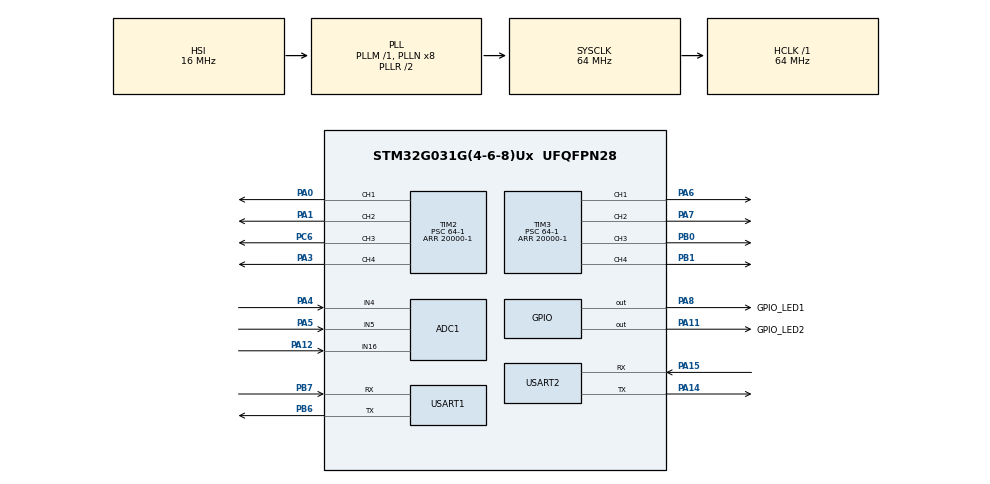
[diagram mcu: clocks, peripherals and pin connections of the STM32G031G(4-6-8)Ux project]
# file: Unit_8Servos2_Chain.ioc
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ADC1.ContinuousConvMode=DISABLE
ADC1.NbrOfConversion=1
ADC1.NbrOfConversionFlag=0
ADC1.SamplingTimeCommon1=ADC_SAMPLETIME_160CYCLES_5
ADC1.SelectedChannel=ADC_CHANNEL_4|ADC_CHANNEL_5|ADC_CHANNEL_VREFINT|ADC_CHANNEL_16
ADC1.Sequencer=NOT_FULLY_CONFIGURABLE
ADC1.master=1
Dma.Request0=USART1_RX
Dma.Request1=USART1_TX
Dma.Request2=USART2_RX
Dma.Request3=USART2_TX
Dma.USART1_RX.0.Direction=DMA_PERIPH_TO_MEMORY
Dma.USART1_RX.0.EventEnable=DISABLE
Dma.USART1_RX.0.Instance=DMA1_Channel1
Dma.USART1_RX.0.MemDataAlignment=DMA_MDATAALIGN_BYTE
Dma.USART1_RX.0.MemInc=DMA_MINC_ENABLE
Dma.USART1_RX.0.Mode=DMA_NORMAL
Dma.USART1_RX.0.PeriphDataAlignment=DMA_PDATAALIGN_BYTE
Dma.USART1_RX.0.PeriphInc=DMA_PINC_DISABLE
Dma.USART1_RX.0.Polarity=HAL_DMAMUX_REQ_GEN_RISING
Dma.USART1_RX.0.Priority=DMA_PRIORITY_LOW
Dma.USART1_RX.0.RequestNumber=1
Dma.USART1_RX.0.SignalID=NONE
Dma.USART1_RX.0.SyncEnable=DISABLE
Dma.USART1_RX.0.SyncPolarity=HAL_DMAMUX_SYNC_NO_EVENT
Dma.USART1_RX.0.SyncRequestNumber=1
Dma.USART1_RX.0.SyncSignalID=NONE
Dma.USART1_TX.1.Direction=DMA_MEMORY_TO_PERIPH
Dma.USART1_TX.1.EventEnable=DISABLE
Dma.USART1_TX.1.Instance=DMA1_Channel2
Dma.USART1_TX.1.MemDataAlignment=DMA_MDATAALIGN_BYTE
Dma.USART1_TX.1.MemInc=DMA_MINC_ENABLE
Dma.USART1_TX.1.Mode=DMA_NORMAL
Dma.USART1_TX.1.PeriphDataAlignment=DMA_PDATAALIGN_BYTE
Dma.USART1_TX.1.PeriphInc=DMA_PINC_DISABLE
Dma.USART1_TX.1.Polarity=HAL_DMAMUX_REQ_GEN_RISING
Dma.USART1_TX.1.Priority=DMA_PRIORITY_LOW
Dma.USART1_TX.1.RequestNumber=1
Dma.USART1_TX.1.SignalID=NONE
Dma.USART1_TX.1.SyncEnable=DISABLE
Dma.USART1_TX.1.SyncPolarity=HAL_DMAMUX_SYNC_NO_EVENT
Dma.USART1_TX.1.SyncRequestNumber=1
Dma.USART1_TX.1.SyncSignalID=NONE
Dma.USART2_RX.2.Direction=DMA_PERIPH_TO_MEMORY
Dma.USART2_RX.2.EventEnable=DISABLE
Dma.USART2_RX.2.Instance=DMA1_Channel3
Dma.USART2_RX.2.MemDataAlignment=DMA_MDATAALIGN_BYTE
Dma.USART2_RX.2.MemInc=DMA_MINC_ENABLE
Dma.USART2_RX.2.Mode=DMA_NORMAL
Dma.USART2_RX.2.PeriphDataAlignment=DMA_PDATAALIGN_BYTE
Dma.USART2_RX.2.PeriphInc=DMA_PINC_DISABLE
Dma.USART2_RX.2.Polarity=HAL_DMAMUX_REQ_GEN_RISING
Dma.USART2_RX.2.Priority=DMA_PRIORITY_LOW
Dma.USART2_RX.2.RequestNumber=1
Dma.USART2_RX.2.SignalID=NONE
Dma.USART2_RX.2.SyncEnable=DISABLE
Dma.USART2_RX.2.SyncPolarity=HAL_DMAMUX_SYNC_NO_EVENT
Dma.USART2_RX.2.SyncRequestNumber=1
Dma.USART2_RX.2.SyncSignalID=NONE
Dma.USART2_TX.3.Direction=DMA_MEMORY_TO_PERIPH
Dma.USART2_TX.3.EventEnable=DISABLE
Dma.USART2_TX.3.Instance=DMA1_Channel4
Dma.USART2_TX.3.MemDataAlignment=DMA_MDATAALIGN_BYTE
Dma.USART2_TX.3.MemInc=DMA_MINC_ENABLE
Dma.USART2_TX.3.Mode=DMA_NORMAL
Dma.USART2_TX.3.PeriphDataAlignment=DMA_PDATAALIGN_BYTE
Dma.USART2_TX.3.PeriphInc=DMA_PINC_DISABLE
Dma.USART2_TX.3.Polarity=HAL_DMAMUX_REQ_GEN_RISING
Dma.USART2_TX.3.Priority=DMA_PRIORITY_LOW
Dma.USART2_TX.3.RequestNumber=1
Dma.USART2_TX.3.SignalID=NONE
Dma.USART2_TX.3.SyncEnable=DISABLE
Dma.USART2_TX.3.SyncPolarity=HAL_DMAMUX_SYNC_NO_EVENT
Dma.USART2_TX.3.SyncRequestNumber=1
Dma.USART2_TX.3.SyncSignalID=NONE
IWDG.Prescaler=IWDG_PRESCALER_16
Mcu.Family=STM32G0
Mcu.Name=STM32G031G(4-6-8)Ux
Mcu.Package=UFQFPN28
NVIC.DMA1_Ch4_5_DMAMUX1_OVR_IRQn=true\:1\:0\:true\:false\:true\:false\:true\:true
NVIC.DMA1_Channel1_IRQn=true\:1\:0\:true\:false\:true\:false\:true\:true
NVIC.DMA1_Channel2_3_IRQn=true\:1\:0\:true\:false\:true\:false\:true\:true
NVIC.FLASH_IRQn=true\:1\:0\:true\:false\:true\:true\:true\:true
NVIC.TIM14_IRQn=true\:1\:0\:true\:false\:true\:true\:true\:true
NVIC.TIM16_IRQn=true\:1\:0\:true\:false\:true\:true\:true\:true
NVIC.TIM17_IRQn=true\:1\:0\:true\:false\:true\:true\:true\:true
NVIC.USART1_IRQn=true\:0\:0\:false\:false\:true\:false\:true\:true
NVIC.USART2_IRQn=true\:0\:0\:false\:false\:true\:false\:true\:true
PA0.Signal=S_TIM2_CH1_ETR
PA1.Signal=S_TIM2_CH2
PA11\ [PA9].GPIO_Label=GPIO_LED2
PA11\ [PA9].GPIO_Speed=GPIO_SPEED_FREQ_HIGH
PA11\ [PA9].PinState=GPIO_PIN_RESET
PA11\ [PA9].Signal=GPIO_Output
PA12\ [PA10].Mode=IN16
PA12\ [PA10].Signal=ADC1_IN16
PA14-BOOT0.GPIO_PuPd=GPIO_PULLUP
PA14-BOOT0.GPIO_Speed=GPIO_SPEED_FREQ_HIGH
PA14-BOOT0.Mode=Asynchronous
PA14-BOOT0.PinState=GPIO_PIN_RESET
PA14-BOOT0.Signal=USART2_TX
PA15.GPIO_PuPd=GPIO_PULLUP
PA15.GPIO_Speed=GPIO_SPEED_FREQ_HIGH
PA15.Mode=Asynchronous
PA15.PinState=GPIO_PIN_RESET
PA15.Signal=USART2_RX
PA3.Signal=S_TIM2_CH4
PA4.Mode=IN4
PA4.Signal=ADC1_IN4
PA5.Mode=IN5
PA5.Signal=ADC1_IN5
PA6.Signal=S_TIM3_CH1
PA7.Signal=S_TIM3_CH2
PA8.GPIO_Label=GPIO_LED1
PA8.GPIO_Speed=GPIO_SPEED_FREQ_HIGH
PA8.PinState=GPIO_PIN_RESET
PA8.Signal=GPIO_Output
PB0.Signal=S_TIM3_CH3
PB1.Signal=S_TIM3_CH4
PB6.GPIO_PuPd=GPIO_PULLUP
PB6.GPIO_Speed=GPIO_SPEED_FREQ_HIGH
PB6.Mode=Asynchronous
PB6.Signal=USART1_TX
PB7.GPIO_PuPd=GPIO_PULLUP
PB7.GPIO_Speed=GPIO_SPEED_FREQ_HIGH
PB7.Mode=Asynchronous
PB7.Signal=USART1_RX
PC6.Signal=S_TIM2_CH3
ProjectManager.HeapSize=0x200
ProjectManager.StackSize=0x400
ProjectManager.TargetToolchain=STM32CubeIDE
RCC.ADCFreq_Value=64000000
RCC.AHBFreq_Value=64000000
RCC.CortexFreq_Value=64000000
RCC.EXTERNAL_CLOCK_VALUE=12288000
RCC.HCLKFreq_Value=64000000
RCC.HSE_VALUE=8000000
RCC.HSI_VALUE=16000000
RCC.LSE_VALUE=32768
RCC.PLLQ=RCC_PLLQ_DIV4
RCC.SYSCLKFreq_VALUE=64000000
RCC.SYSCLKSource=RCC_SYSCLKSOURCE_PLLCLK
RCC.VCOOutputFreq_Value=128000000
SH.S_TIM2_CH1_ETR.0=TIM2_CH1,PWM Generation1 CH1
SH.S_TIM2_CH2.0=TIM2_CH2,PWM Generation2 CH2
SH.S_TIM2_CH3.0=TIM2_CH3,PWM Generation3 CH3
SH.S_TIM2_CH4.0=TIM2_CH4,PWM Generation4 CH4
SH.S_TIM3_CH1.0=TIM3_CH1,PWM Generation1 CH1
SH.S_TIM3_CH2.0=TIM3_CH2,PWM Generation2 CH2
SH.S_TIM3_CH3.0=TIM3_CH3,PWM Generation3 CH3
SH.S_TIM3_CH4.0=TIM3_CH4,PWM Generation4 CH4
TIM14.AutoReloadPreload=TIM_AUTORELOAD_PRELOAD_ENABLE
TIM14.Period=1699
TIM14.Prescaler=6399
TIM16.Period=29999
TIM16.Prescaler=6399
TIM17.Period=9999
TIM17.Prescaler=6399
TIM2.Channel-PWM\ Generation1\ CH1=TIM_CHANNEL_1
TIM2.Channel-PWM\ Generation2\ CH2=TIM_CHANNEL_2
TIM2.Channel-PWM\ Generation3\ CH3=TIM_CHANNEL_3
TIM2.Channel-PWM\ Generation4\ CH4=TIM_CHANNEL_4
TIM2.Period=20000-1
TIM2.Prescaler=64-1
TIM2.Pulse-PWM\ Generation1\ CH1=500
TIM2.Pulse-PWM\ Generation2\ CH2=500
TIM2.Pulse-PWM\ Generation3\ CH3=500
TIM2.Pulse-PWM\ Generation4\ CH4=500
TIM3.Channel-PWM\ Generation1\ CH1=TIM_CHANNEL_1
TIM3.Channel-PWM\ Generation2\ CH2=TIM_CHANNEL_2
TIM3.Channel-PWM\ Generation3\ CH3=TIM_CHANNEL_3
TIM3.Channel-PWM\ Generation4\ CH4=TIM_CHANNEL_4
TIM3.Period=20000-1
TIM3.Prescaler=64-1
TIM3.Pulse-PWM\ Generation1\ CH1=500
TIM3.Pulse-PWM\ Generation2\ CH2=500
TIM3.Pulse-PWM\ Generation3\ CH3=500
TIM3.Pulse-PWM\ Generation4\ CH4=500
USART1.VirtualMode-Asynchronous=VM_ASYNC
USART2.VirtualMode-Asynchronous=VM_ASYNC
VP_ADC1_Vref_Input.Mode=IN-Vrefint
VP_IWDG_VS_IWDG.Mode=IWDG_Activate
VP_TIM14_VS_ClockSourceINT.Mode=Enable_Timer
VP_TIM16_VS_ClockSourceINT.Mode=Enable_Timer
VP_TIM17_VS_ClockSourceINT.Mode=Enable_Timer
VP_TIM2_VS_ClockSourceINT.Mode=Internal
VP_TIM3_VS_ClockSourceINT.Mode=Internal
board=custom

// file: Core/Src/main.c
/* USER CODE BEGIN Header */
/**
 ******************************************************************************
 * @file           : main.c
 * @brief          : Main program body
 ******************************************************************************
 * @attention
 *
 * Copyright (c) 2024 STMicroelectronics.
 * All rights reserved.
 *
 * This software is licensed under terms that can be found in the LICENSE file
 * in the root directory of this software component.
 * If no LICENSE file comes with this software, it is provided AS-IS.
 *
 ******************************************************************************
 */
/* USER CODE END Header */
#include "main.h"
#include "adc.h"
#include "dma.h"
#include "iwdg.h"
#include "tim.h"
#include "usart.h"
#include "gpio.h"

/* USER CODE BEGIN Includes */
#include "base_function.h"
#include "servos2_chain_function.h"
#include "user_sys.h"
/* USER CODE END Includes */

/* USER CODE BEGIN PV */
// DMA receive buffers
__IO uint8_t g_uart_in_rx_buf[UART_BUFFER_SIZE][BUFFER_SIZE * 2];   // uart_in receive buffer for DMA
__IO uint8_t g_uart_out_rx_buf[UART_BUFFER_SIZE][BUFFER_SIZE * 2];  // uart_out receive buffer for DMA

// Transmission status for UART
__IO uint8_t g_uart_in_rx_index  = 0;  // Index for UART input (receiving) buffer position
__IO uint8_t g_uart_out_rx_index = 0;  // Index for UART output (receiving) buffer position

// Transmission complete flags for UART
__IO uint8_t g_uart_in_transmit_complete  = 1;  // Flag indicating if uart_in transmission is complete (1: complete)
__IO uint8_t g_uart_out_transmit_complete = 1;  // Flag indicating if uart_out transmission is complete (1: complete)

// Command buffer and related variables
__IO uint8_t g_cmd_buf[BUFFER_SIZE] = {0};                    // Command buffer initialized to zero
__IO uint8_t g_cmd_size             = 0;                      // Size of the command currently in the buffer
__IO uint8_t g_cmd_status           = CMD_SPACE_IDLE_STATUS;  // Status of the command processing

// Device status variables
__IO uint8_t g_tail_status        = CHAIN_TAIL_DEVICE;  // Status of the tail device in the chain
__IO uint8_t g_heart_beat_record  = 0;                  // Heartbeat record for monitoring device status
__IO uint8_t g_bootloader_version = 0;                  // Version of the bootloader
__IO uint8_t g_firmware_version   = SOFTWARE_VERSION;   // Version of the firmware

// Device type information
__IO uint16_t g_device_type =
    (uint8_t)((PRODUCT_TYPE_HIGH << 8) | PRODUCT_TYPE_LOW);  // Combined product type from high and low bytes
__IO uint8_t g_light = 0;                                    // Light status or value

__IO static uint32_t s_last_press_time = 0;  // Store the last press time in milliseconds

__IO static uint8_t s_key_flag = 0;

__IO uint8_t g_uid[12] = {0};  // Unique identifier

/* USER CODE END PV */

void SystemClock_Config(void);

/* USER CODE BEGIN 0 */
/**
 * @brief Set the Interrupt Vector Table for the application in SRAM.
 * @param None
 * @retval None
 */
void iap_set(void)
{
    uint8_t i;                                     // Loop index
    uint32_t *pVecTab = (uint32_t *)(0x20000000);  // Pointer to the vector table in SRAM

    // Copy the interrupt vector table from the application address to SRAM
    for (i = 0; i < 48; i++) {
        // Copy each vector entry to the SRAM vector table
        *(pVecTab++) = *(__IO uint32_t *)(APPLICATION_ADDRESS + (i << 2));
    }

    // Enable the SYSCFG peripheral clock
    __HAL_RCC_SYSCFG_CLK_ENABLE();

    // Remap the memory to use SRAM for the vector table
    __HAL_SYSCFG_REMAPMEMORY_SRAM();
}

/**
 * @brief Initialize the chain device settings.
 * @param None
 * @retval None
 */
void chain_init(void)
{
    // Get the version of the bootloader
    g_bootloader_version = get_bootloader_version();
}

void read_uid(void)
{
    uint32_t uid0 = HAL_GetUIDw0();
    uint32_t uid1 = HAL_GetUIDw1();
    uint32_t uid2 = HAL_GetUIDw2();

    memcpy(&g_uid[0], &uid0, 4);
    memcpy(&g_uid[4], &uid1, 4);
    memcpy(&g_uid[8], &uid2, 4);
}

/* USER CODE END 0 */

int main(void)
{
    /* USER CODE BEGIN 1 */
    iap_set();
    chain_init();
    read_uid();
    /* USER CODE END 1 */

    /* MCU Configuration--------------------------------------------------------*/

    /* Reset of all peripherals, Initializes the Flash interface and the Systick. */
    HAL_Init();

    /* Configure the system clock */
    SystemClock_Config();

    /* Initialize all configured peripherals */
    MX_GPIO_Init();
    MX_DMA_Init();
    MX_USART1_UART_Init();
    MX_USART2_UART_Init();
    MX_IWDG_Init();
    MX_TIM14_Init();
    MX_TIM16_Init();
    MX_TIM17_Init();
    MX_ADC1_Init();
    MX_TIM2_Init();
    MX_TIM3_Init();
    /* USER CODE BEGIN 2 */
    HAL_Delay(1);
    LL_TIM_ClearFlag_UPDATE(TIM14);  // Clear update TIM14
    LL_TIM_EnableIT_UPDATE(TIM14);   // ENABLE TIM14
    LL_TIM_EnableCounter(TIM14);     // ENABLE TIM14
    HAL_Delay(1);
    LL_TIM_ClearFlag_UPDATE(TIM17);  // Clear update TIM17
    LL_TIM_EnableIT_UPDATE(TIM17);   // ENABLE TIM17
    LL_TIM_EnableCounter(TIM17);     // ENABLE TIM17
    HAL_Delay(1);
    LL_TIM_ClearFlag_UPDATE(TIM16);  // Clear update TIM16
    LL_TIM_EnableIT_UPDATE(TIM16);   // ENABLE TIM16
    LL_TIM_EnableCounter(TIM16);     // ENABLE TIM16
    HAL_Delay(1);
    HAL_ADCEx_Calibration_Start(&hadc1);
    user_sys_config_init();
    for (uint8_t i = 0; i < 8; i++) {
        user_input_init(i);
    }
    user_time_init();
    /* USER CODE END 2 */

    /* Infinite loop */
    /* USER CODE BEGIN WHILE */
    while (1) {
        if (g_cmd_status == CMD_SPACE_BUSY_STATUS) {
            switch (g_cmd_buf[0]) {
                // --- Mode Control / 模式控制 ---
                case SERVOS2_CHAIN_SET_MODE_SINGLE:
                    // buf[1]: GPIO, buf[2]: Mode
                    servos2_chain_set_mode_single(g_cmd_buf[1], g_cmd_buf[2]);
                    break;
                case SERVOS2_CHAIN_SET_MODE_ALL:
                    // &buf[1]: Mode Array, len-1: Size
                    servos2_chain_set_mode_all(&g_cmd_buf[1], g_cmd_size - 1);
                    break;
                case SERVOS2_CHAIN_GET_MODE_SINGLE:
                    // buf[1]: GPIO
                    servos2_chain_get_mode_single(g_cmd_buf[1]);
                    break;
                case SERVOS2_CHAIN_GET_MODE_ALL:
                    servos2_chain_get_mode_all();
                    break;
                // --- Input Pull-up/down / 输入上下拉 ---
                case SERVOS2_CHAIN_SET_INPUT_PU_PD_SINGLE:
                    // buf[1]: GPIO, buf[2]: PU_PD
                    servos2_chain_set_input_pu_pd_single(g_cmd_buf[1], g_cmd_buf[2]);
                    break;
                case SERVOS2_CHAIN_SET_INPUT_PU_PD_ALL:
                    servos2_chain_set_input_pu_pd_all(&g_cmd_buf[1], g_cmd_size - 1);
                    break;
                case SERVOS2_CHAIN_GET_INPUT_PU_PD_SINGLE:
                    servos2_chain_get_input_pu_pd_single(g_cmd_buf[1]);
                    break;
                case SERVOS2_CHAIN_GET_INPUT_PU_PD_ALL:
                    servos2_chain_get_input_pu_pd_all();
                    break;
                // --- Input Status / 输入状态 ---
                case SERVOS2_CHAIN_GET_INPUT_STATUS_SINGLE:
                    servos2_chain_get_input_status_single(g_cmd_buf[1]);
                    break;
                case SERVOS2_CHAIN_GET_INPUT_STATUS_ALL:
                    servos2_chain_get_input_status_all();
                    break;
                // --- Output Status / 输出状态 ---
                case SERVOS2_CHAIN_SET_OUTPUT_STATUS_SINGLE:
                    // buf[1]: GPIO, buf[2]: Status
                    servos2_chain_set_output_status_single(g_cmd_buf[1], g_cmd_buf[2]);
                    break;
                case SERVOS2_CHAIN_SET_OUTPUT_STATUS_ALL:
                    servos2_chain_set_output_status_all(&g_cmd_buf[1], g_cmd_size - 1);
                    break;
                case SERVOS2_CHAIN_GET_OUTPUT_STATUS_SINGLE:
                    servos2_chain_get_output_status_single(g_cmd_buf[1]);
                    break;
                case SERVOS2_CHAIN_GET_OUTPUT_STATUS_ALL:
                    servos2_chain_get_output_status_all();
                    break;
                // --- ADC Values / ADC 值 ---
                case SERVOS2_CHAIN_GET_ADC_VALUE_SINGLE:
                    servos2_chain_get_adc_value_single(g_cmd_buf[1]);
                    break;
                case SERVOS2_CHAIN_GET_ADC_VALUE_ALL:
                    servos2_chain_get_adc_value_all();
                    break;
                // --- Servo Angles / 舵机角度 ---
                case SERVOS2_CHAIN_SET_SERVO_ANGLE_SINGLE:
                    // buf[1]: GPIO, buf[2]: Angle
                    servos2_chain_set_servo_angle_single(g_cmd_buf[1], g_cmd_buf[2]);
                    break;
                case SERVOS2_CHAIN_SET_SERVO_ANGLE_ALL:
                    servos2_chain_set_servo_angle_all(&g_cmd_buf[1], g_cmd_size - 1);
                    break;
                case SERVOS2_CHAIN_GET_SERVO_ANGLE_SINGLE:
                    servos2_chain_get_servo_angle_single(g_cmd_buf[1]);
                    break;
                case SERVOS2_CHAIN_GET_SERVO_ANGLE_ALL:
                    servos2_chain_get_servo_angle_all();
                    break;
                // --- RGB Configuration / RGB 配置 ---
                case SERVOS2_CHAIN_SET_RGB_CONFIG_SINGLE:
                    // buf[1]: GPIO, buf[2]: Config
                    servos2_chain_set_rgb_config_single(g_cmd_buf[1], g_cmd_buf[2]);
                    break;
                case SERVOS2_CHAIN_SET_RGB_CONFIG_ALL:
                    servos2_chain_set_rgb_config_all(&g_cmd_buf[1], g_cmd_size - 1);
                    break;
                case SERVOS2_CHAIN_GET_RGB_CONFIG_SINGLE:
                    servos2_chain_get_rgb_config_single(g_cmd_buf[1]);
                    break;
                case SERVOS2_CHAIN_GET_RGB_CONFIG_ALL:
                    servos2_chain_get_rgb_config_all();
                    break;
                // --- RGB Buffer (Color Data) / RGB 缓冲(颜色数据) ---
                case SERVOS2_CHAIN_SET_RGB_BUFFER_SINGLE:
                    // buf[1...]: [Index, R, G, B]
                    servos2_chain_set_rgb_buffer_single(&g_cmd_buf[1], g_cmd_size - 1);
                    break;
                case SERVOS2_CHAIN_SET_RGB_BUFFER_ALL:
                    // buf[1...]: [R, G, B, R, G, B...]
                    servos2_chain_set_rgb_buffer_all(&g_cmd_buf[1], g_cmd_size - 1);
                    break;
                case SERVOS2_CHAIN_GET_RGB_BUFFER_SINGLE:
                    // buf[1]: LED Index
                    servos2_chain_get_rgb_buffer_single(g_cmd_buf[1]);
                    break;
                case SERVOS2_CHAIN_GET_RGB_BUFFER_ALL:
                    servos2_chain_get_rgb_buffer_all();
                    break;
                // --- PWM Duty / PWM 占空比 ---
                case SERVOS2_CHAIN_SET_PWM_DUTY_SINGLE:
                    // buf[1]: GPIO, buf[2]: Duty
                    servos2_chain_set_pwm_duty_single(g_cmd_buf[1], g_cmd_buf[2]);
                    break;
                case SERVOS2_CHAIN_SET_PWM_DUTY_ALL:
                    servos2_chain_set_pwm_duty_all(&g_cmd_buf[1], g_cmd_size - 1);
                    break;
                case SERVOS2_CHAIN_GET_PWM_DUTY_SINGLE:
                    servos2_chain_get_pwm_duty_single(g_cmd_buf[1]);
                    break;
                case SERVOS2_CHAIN_GET_PWM_DUTY_ALL:
                    servos2_chain_get_pwm_duty_all();
                    break;
                // --- Timer Config / 定时器配置 ---
                case SERVOS2_CHAIN_SET_TIME_CONFIG_SINGLE:
                    // buf[1...]: [TimerIndex, Low, High]
                    servos2_chain_set_time_config_single(&g_cmd_buf[1], g_cmd_size - 1);
                    break;
                case SERVOS2_CHAIN_SET_TIME_CONFIG_ALL:
                    // buf[1...]: [T0_L, T0_H, T1_L, T1_H]
                    servos2_chain_set_time_config_all(&g_cmd_buf[1], g_cmd_size - 1);
                    break;
                case SERVOS2_CHAIN_GET_TIME_CONFIG_SINGLE:
                    // buf[1]: Timer Index
                    servos2_chain_get_time_config_single(g_cmd_buf[1]);
                    break;
                case SERVOS2_CHAIN_GET_TIME_CONFIG_ALL:
                    servos2_chain_get_time_config_all();
                    break;
                // --- System Info / 系统信息 ---
                case SERVOS2_CHAIN_GET_VREF:
                    servos2_chain_get_vref();
                    break;
                case SERVOS2_CHAIN_GET_GROVE_VOLTAGE:
                    servos2_chain_get_grove_voltage();
                    break;
                case SERVOS2_CHAIN_GET_DC_VOLTAGE:
                    servos2_chain_get_dc_voltage();
                    break;
                case SERVOS2_CHAIN_GET_SYS_CURRENT:
                    servos2_chain_get_sys_current();
                    break;
                case CHAIN_GET_UID:
                    chain_get_uid_handle(g_cmd_buf[1]);
                    break;
                case CHAIN_GET_BOOTLOADER_VERSION:
                    chain_get_bootloader_version_handle();
                    break;
                case CHAIN_GET_VERSION_DEVICE:
                    chain_get_firmware_version_handle();
                    break;
                case CHAIN_GET_DEVICE_TYPE:
                    chain_get_device_type_handle();
                    break;
                case CHAIN_IAP_UPDATE:
                    chain_iap_update_handle(g_cmd_buf[1]);
                    break;
                default:
                    break;
            }
            g_cmd_status = CMD_SPACE_IDLE_STATUS;
        }
        /* USER CODE END WHILE */

        /* USER CODE BEGIN 3 */
        user_adc_update();
        user_time_freq_update();
        user_sys_servo_angle_update();
        user_sys_pwm_update();
        user_sys_grove_led_update();
        user_sys_dc_led_update();
        LL_IWDG_ReloadCounter(IWDG);
    }
    /* USER CODE END 3 */
}

void SystemClock_Config(void)
{
    RCC_OscInitTypeDef RCC_OscInitStruct = {0};
    RCC_ClkInitTypeDef RCC_ClkInitStruct = {0};

    /** Configure the main internal regulator output voltage
     */
    HAL_PWREx_ControlVoltageScaling(PWR_REGULATOR_VOLTAGE_SCALE1);

    /** Initializes the RCC Oscillators according to the specified parameters
     * in the RCC_OscInitTypeDef structure.
     */
    RCC_OscInitStruct.OscillatorType      = RCC_OSCILLATORTYPE_HSI | RCC_OSCILLATORTYPE_LSI;
    RCC_OscInitStruct.HSIState            = RCC_HSI_ON;
    RCC_OscInitStruct.HSIDiv              = RCC_HSI_DIV1;
    RCC_OscInitStruct.HSICalibrationValue = RCC_HSICALIBRATION_DEFAULT;
    RCC_OscInitStruct.LSIState            = RCC_LSI_ON;
    RCC_OscInitStruct.PLL.PLLState        = RCC_PLL_ON;
    RCC_OscInitStruct.PLL.PLLSource       = RCC_PLLSOURCE_HSI;
    RCC_OscInitStruct.PLL.PLLM            = RCC_PLLM_DIV1;
    RCC_OscInitStruct.PLL.PLLN            = 8;
    RCC_OscInitStruct.PLL.PLLP            = RCC_PLLP_DIV2;
    RCC_OscInitStruct.PLL.PLLQ            = RCC_PLLQ_DIV4;
    RCC_OscInitStruct.PLL.PLLR            = RCC_PLLR_DIV2;
    if (HAL_RCC_OscConfig(&RCC_OscInitStruct) != HAL_OK) {
        Error_Handler();
    }

    /** Initializes the CPU, AHB and APB buses clocks
     */
    RCC_ClkInitStruct.ClockType      = RCC_CLOCKTYPE_HCLK | RCC_CLOCKTYPE_SYSCLK | RCC_CLOCKTYPE_PCLK1;
    RCC_ClkInitStruct.SYSCLKSource   = RCC_SYSCLKSOURCE_PLLCLK;
    RCC_ClkInitStruct.AHBCLKDivider  = RCC_SYSCLK_DIV1;
    RCC_ClkInitStruct.APB1CLKDivider = RCC_HCLK_DIV1;

    if (HAL_RCC_ClockConfig(&RCC_ClkInitStruct, FLASH_LATENCY_2) != HAL_OK) {
        Error_Handler();
    }
}

void Error_Handler(void)
{
    __disable_irq();
    while (1) {
    }
}

#ifdef USE_FULL_ASSERT
/**
 * @brief  Reports the name of the source file and the source line number
 *         where the assert_param error has occurred.
 * @param  file: pointer to the source file name
 * @param  line: assert_param error line source number
 * @retval None
 */
void assert_failed(uint8_t *file, uint32_t line)
{
    /* USER CODE BEGIN 6 */
    /* User can add his own implementation to report the file name and line
       number,
       ex: printf("Wrong parameters value: file %s on line %d\r\n", file, line) */
    /* USER CODE END 6 */
}
#endif /* USE_FULL_ASSERT */
